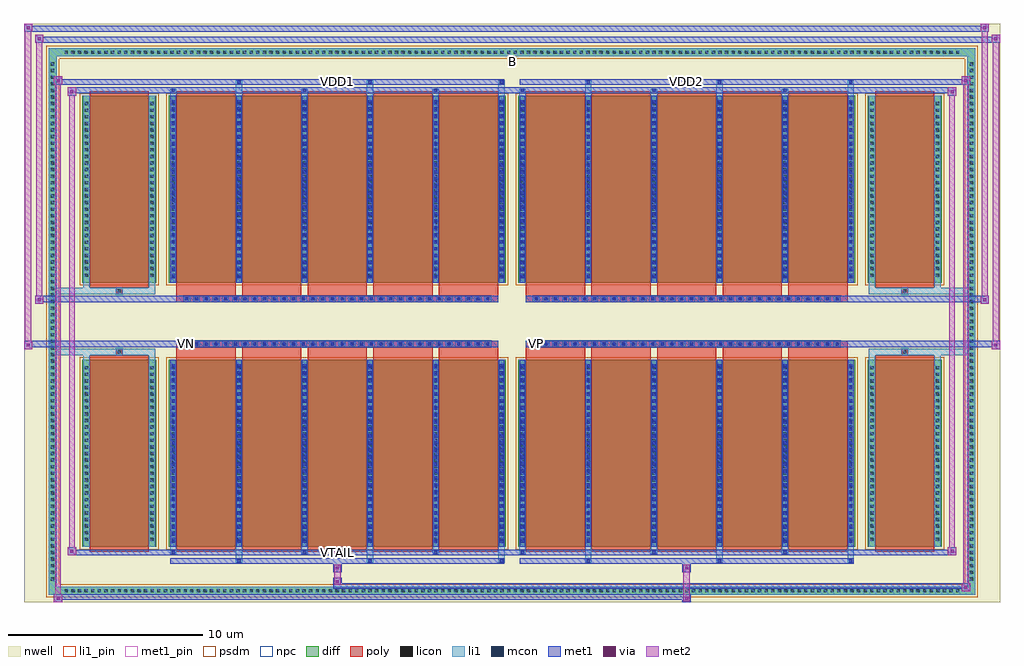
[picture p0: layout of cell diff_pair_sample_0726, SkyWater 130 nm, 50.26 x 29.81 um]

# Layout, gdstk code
import gdstk
lib = gdstk.Library(unit=1e-6, precision=5e-09)
def R(c, l, rs):  # rectangles x0, y0, x1, y1
    for r in rs: c.add(gdstk.rectangle(r[:2], r[2:], *l))
def A(c, l, x, y, w, h, nx, ny, dx, dy):  # array of equal rectangles
    R(c, l, [(x+i*dx, y+j*dy, x+i*dx+w, y+j*dy+h) for i in range(nx) for j in range(ny)])
def P(c, l, *ps):  # polygons
    for p in ps: c.add(gdstk.Polygon(p, *l))
nwell = (64, 20)
diff = (65, 20)
poly = (66, 20)
licon = (66, 44)
li1_pin = (67, 16)
li1 = (67, 20)
mcon = (67, 44)
met1_pin = (68, 16)
met1 = (68, 20)
via = (68, 44)
met2 = (69, 20)
psdm = (94, 20)
npc = (95, 20)

diff_pair_sample_0726 = lib.new_cell('diff_pair_sample_0726')
R(diff_pair_sample_0726, nwell, [(-25.13,-14.47,25.13,15.34), (-22.45,-12.66,-0.01,-0.8), (0.01,-12.66,22.45,-0.8), (-22.45,0.8,-0.01,12.66), (0.01,0.8,22.45,12.66)])
A(diff_pair_sample_0726, diff, -23.155, -14.07, 0.41, 0.41, 136, 2, 0.34, 27.73)
A(diff_pair_sample_0726, diff, -23.86, -13.465, 0.41, 0.41, 1, 79, 0, 0.34)
A(diff_pair_sample_0726, diff, 23.45, -13.465, 0.41, 0.41, 1, 79, 0, 0.34)
R(diff_pair_sample_0726, diff, [(-23.155,-14.07,23.155,-13.66), (-23.86,-13.465,-23.45,13.465), (23.45,-13.465,23.86,13.465), (-22.14,-11.615,-18.31,-1.985), (-17.67,-11.615,-0.32,-1.985), (0.32,-11.615,17.67,-1.985), (18.31,-11.615,22.14,-1.985), (-22.14,1.985,-18.31,11.615), (-17.67,1.985,-0.32,11.615), (0.32,1.985,17.67,11.615), (18.31,1.985,22.14,11.615), (-23.155,13.66,23.155,14.07)])
P(diff_pair_sample_0726, diff, [(23.86,14.07),(-23.86,14.07),(-23.86,-13.66),(-23.45,-13.66),(-23.45,13.66),(23.45,13.66),(23.45,-13.66),(-23.45,-13.66),(-23.86,-13.66),(-23.86,-14.07),(23.86,-14.07)])
A(diff_pair_sample_0726, poly, -17.28, -11.865, 3.05, 10.13, 5, 2, 3.38, 13.6)
A(diff_pair_sample_0726, poly, 0.71, -11.865, 3.05, 10.13, 5, 2, 3.38, 13.6)
A(diff_pair_sample_0726, poly, -17.28, -1.735, 3.05, 0.405, 5, 2, 3.38, 3.065)
A(diff_pair_sample_0726, poly, 0.71, -1.735, 3.05, 0.405, 5, 2, 3.38, 3.065)
A(diff_pair_sample_0726, poly, -16.91, -1.33, 0.33, 0.33, 32, 2, 0.5, 2.33)
A(diff_pair_sample_0726, poly, 1.08, -1.33, 0.33, 0.33, 32, 2, 0.5, 2.33)
R(diff_pair_sample_0726, poly, [(-21.75,-11.865,-18.7,-1.735), (18.7,-11.865,21.75,-1.735), (-20.39,-1.735,-20.06,-1.405), (-20.39,-1.735,-20.06,-1.405), (20.06,-1.735,20.39,-1.405), (20.06,-1.735,20.39,-1.405), (-17.28,-1.33,-0.71,-1), (0.71,-1.33,17.28,-1), (-17.28,1,-0.71,1.33), (0.71,1,17.28,1.33), (-20.39,1.405,-20.06,1.735), (-20.39,1.405,-20.06,1.735), (20.06,1.405,20.39,1.735), (20.06,1.405,20.39,1.735), (-21.75,1.735,-18.7,11.865), (18.7,1.735,21.75,11.865)])
A(diff_pair_sample_0726, licon, -23.035, -13.95, 0.17, 0.17, 136, 2, 0.34, 27.73)
A(diff_pair_sample_0726, licon, -23.74, -13.345, 0.17, 0.17, 1, 79, 0, 0.34)
A(diff_pair_sample_0726, licon, 23.57, -13.345, 0.17, 0.17, 1, 79, 0, 0.34)
A(diff_pair_sample_0726, licon, -22, -11.305, 0.17, 0.17, 1, 27, 0, 0.34)
A(diff_pair_sample_0726, licon, -18.62, -11.305, 0.17, 0.17, 1, 27, 0, 0.34)
A(diff_pair_sample_0726, licon, -17.53, -11.305, 0.17, 0.17, 6, 27, 3.38, 0.34)
A(diff_pair_sample_0726, licon, 0.46, -11.305, 0.17, 0.17, 6, 27, 3.38, 0.34)
A(diff_pair_sample_0726, licon, 18.45, -11.305, 0.17, 0.17, 1, 27, 0, 0.34)
A(diff_pair_sample_0726, licon, 21.83, -11.305, 0.17, 0.17, 1, 27, 0, 0.34)
A(diff_pair_sample_0726, licon, -16.83, -1.25, 0.17, 0.17, 32, 2, 0.5, 2.33)
A(diff_pair_sample_0726, licon, 1.16, -1.25, 0.17, 0.17, 32, 2, 0.5, 2.33)
A(diff_pair_sample_0726, licon, -22, 2.295, 0.17, 0.17, 1, 27, 0, 0.34)
A(diff_pair_sample_0726, licon, -18.62, 2.295, 0.17, 0.17, 1, 27, 0, 0.34)
A(diff_pair_sample_0726, licon, -17.53, 2.295, 0.17, 0.17, 6, 27, 3.38, 0.34)
A(diff_pair_sample_0726, licon, 0.46, 2.295, 0.17, 0.17, 6, 27, 3.38, 0.34)
A(diff_pair_sample_0726, licon, 18.45, 2.295, 0.17, 0.17, 1, 27, 0, 0.34)
A(diff_pair_sample_0726, licon, 21.83, 2.295, 0.17, 0.17, 1, 27, 0, 0.34)
R(diff_pair_sample_0726, licon, [(-20.31,-1.655,-20.14,-1.485), (20.14,-1.655,20.31,-1.485), (-20.31,1.485,-20.14,1.655), (20.14,1.485,20.31,1.655)])
R(diff_pair_sample_0726, li1_pin, [(-0.25,13.16,0.25,13.66)])
A(diff_pair_sample_0726, li1, -23.115, -14.03, 0.33, 0.33, 136, 2, 0.34, 27.73)
A(diff_pair_sample_0726, li1, -23.82, -13.425, 0.33, 0.33, 1, 79, 0, 0.34)
A(diff_pair_sample_0726, li1, 23.49, -13.425, 0.33, 0.33, 1, 79, 0, 0.34)
A(diff_pair_sample_0726, li1, -14.23, -12.42, 0.33, 0.805, 3, 2, 6.76, 24.035)
A(diff_pair_sample_0726, li1, -14.15, -12.42, 0.17, 0.17, 3, 2, 6.76, 24.67)
A(diff_pair_sample_0726, li1, 3.76, -12.42, 0.33, 0.805, 3, 2, 6.76, 24.035)
A(diff_pair_sample_0726, li1, 3.84, -12.42, 0.17, 0.17, 3, 2, 6.76, 24.67)
A(diff_pair_sample_0726, li1, -17.61, -11.99, 0.33, 0.375, 3, 2, 6.76, 23.605)
A(diff_pair_sample_0726, li1, -17.53, -11.99, 0.17, 0.17, 3, 2, 6.76, 23.81)
A(diff_pair_sample_0726, li1, 0.38, -11.99, 0.33, 0.375, 3, 2, 6.76, 23.605)
A(diff_pair_sample_0726, li1, 0.46, -11.99, 0.17, 0.17, 3, 2, 6.76, 23.81)
A(diff_pair_sample_0726, li1, -17.61, -11.615, 0.33, 9.63, 6, 2, 3.38, 13.6)
A(diff_pair_sample_0726, li1, 0.38, -11.615, 0.33, 9.63, 6, 2, 3.38, 13.6)
A(diff_pair_sample_0726, li1, -22.08, -11.385, 0.33, 0.33, 1, 27, 0, 0.34)
A(diff_pair_sample_0726, li1, -18.7, -11.385, 0.33, 0.33, 1, 27, 0, 0.34)
A(diff_pair_sample_0726, li1, -17.61, -11.385, 0.33, 0.33, 6, 27, 3.38, 0.34)
A(diff_pair_sample_0726, li1, -17.53, -11.385, 0.17, 0.17, 6, 26, 3.38, 0.36)
A(diff_pair_sample_0726, li1, -17.53, -11.385, 0.17, 9.17, 6, 2, 3.38, 13.6)
A(diff_pair_sample_0726, li1, 0.38, -11.385, 0.33, 0.33, 6, 27, 3.38, 0.34)
A(diff_pair_sample_0726, li1, 0.46, -11.385, 0.17, 0.17, 6, 26, 3.38, 0.36)
A(diff_pair_sample_0726, li1, 0.46, -11.385, 0.17, 9.17, 6, 2, 3.38, 13.6)
A(diff_pair_sample_0726, li1, 18.37, -11.385, 0.33, 0.33, 1, 27, 0, 0.34)
A(diff_pair_sample_0726, li1, 21.75, -11.385, 0.33, 0.33, 1, 27, 0, 0.34)
A(diff_pair_sample_0726, li1, -16.91, -1.33, 0.33, 0.33, 32, 2, 0.5, 2.33)
A(diff_pair_sample_0726, li1, 1.08, -1.33, 0.33, 0.33, 32, 2, 0.5, 2.33)
A(diff_pair_sample_0726, li1, -22.08, 2.215, 0.33, 0.33, 1, 27, 0, 0.34)
A(diff_pair_sample_0726, li1, -18.7, 2.215, 0.33, 0.33, 1, 27, 0, 0.34)
A(diff_pair_sample_0726, li1, -17.61, 2.215, 0.33, 0.33, 6, 27, 3.38, 0.34)
A(diff_pair_sample_0726, li1, -17.53, 2.215, 0.17, 0.17, 6, 26, 3.38, 0.36)
A(diff_pair_sample_0726, li1, 0.38, 2.215, 0.33, 0.33, 6, 27, 3.38, 0.34)
A(diff_pair_sample_0726, li1, 0.46, 2.215, 0.17, 0.17, 6, 26, 3.38, 0.36)
A(diff_pair_sample_0726, li1, 18.37, 2.215, 0.33, 0.33, 1, 27, 0, 0.34)
A(diff_pair_sample_0726, li1, 21.75, 2.215, 0.33, 0.33, 1, 27, 0, 0.34)
R(diff_pair_sample_0726, li1, [(-23.86,-14.07,-23.45,-13.66), (-23.86,-14.07,-23.45,-13.66), (-23.45,-14.07,23.45,-13.66), (23.45,-14.07,23.86,-13.66), (23.45,-14.07,23.86,-13.66), (-23.86,-13.66,-23.45,13.66), (23.45,-13.66,23.86,13.66), (-22.08,-11.615,-21.75,-1.985), (-18.7,-11.615,-18.37,-1.985), (18.37,-11.615,18.7,-1.985), (21.75,-11.615,22.08,-1.985), (-22.08,-1.985,-21.75,-1.405), (-18.7,-1.985,-18.37,-1.405), (18.37,-1.985,18.7,-1.405), (21.75,-1.985,22.08,-1.405), (-23.86,-1.735,-20.39,-1.405), (-22.08,-1.735,-20.39,-1.405), (-20.39,-1.735,-20.06,-1.405), (-20.06,-1.735,-18.37,-1.405), (18.37,-1.735,20.06,-1.405), (20.06,-1.735,20.39,-1.405), (20.06,-1.735,23.86,-1.405), (20.39,-1.735,22.08,-1.405), (-23.86,1.405,-20.39,1.735), (-22.08,1.405,-20.39,1.735), (-22.08,1.405,-21.75,1.985), (-20.39,1.405,-20.06,1.735), (-20.06,1.405,-18.37,1.735), (-18.7,1.405,-18.37,1.985), (18.37,1.405,20.06,1.735), (18.37,1.405,18.7,1.985), (20.06,1.405,20.39,1.735), (20.06,1.405,23.86,1.735), (20.39,1.405,22.08,1.735), (21.75,1.405,22.08,1.985), (-22.08,1.985,-21.75,11.615), (-18.7,1.985,-18.37,11.615), (18.37,1.985,18.7,11.615), (21.75,1.985,22.08,11.615), (-23.86,13.66,-23.45,14.07), (-23.86,13.66,-23.45,14.07), (-23.45,13.66,23.45,14.07), (23.45,13.66,23.86,14.07), (23.45,13.66,23.86,14.07)])
A(diff_pair_sample_0726, mcon, -14.15, -12.42, 0.17, 0.17, 3, 2, 6.76, 24.67)
A(diff_pair_sample_0726, mcon, 3.84, -12.42, 0.17, 0.17, 3, 2, 6.76, 24.67)
A(diff_pair_sample_0726, mcon, -17.53, -11.99, 0.17, 0.17, 3, 2, 6.76, 23.81)
A(diff_pair_sample_0726, mcon, 0.46, -11.99, 0.17, 0.17, 3, 2, 6.76, 23.81)
A(diff_pair_sample_0726, mcon, -17.53, -11.385, 0.17, 0.17, 6, 26, 3.38, 0.36)
A(diff_pair_sample_0726, mcon, 0.46, -11.385, 0.17, 0.17, 6, 26, 3.38, 0.36)
A(diff_pair_sample_0726, mcon, -16.83, -1.25, 0.17, 0.17, 32, 2, 0.5, 2.33)
A(diff_pair_sample_0726, mcon, 1.16, -1.25, 0.17, 0.17, 32, 2, 0.5, 2.33)
A(diff_pair_sample_0726, mcon, -17.53, 2.215, 0.17, 0.17, 6, 26, 3.38, 0.36)
A(diff_pair_sample_0726, mcon, 0.46, 2.215, 0.17, 0.17, 6, 26, 3.38, 0.36)
R(diff_pair_sample_0726, met1_pin, [(-9.13,-12.03,-8.86,-11.76), (-16.88,-1.29,-16.61,-1.02), (1.11,-1.29,1.38,-1.02), (-9.13,12.21,-8.86,12.48), (8.86,12.21,9.13,12.48)])
A(diff_pair_sample_0726, met1, -14.21, -12.48, 0.29, 0.29, 3, 2, 6.76, 24.67)
A(diff_pair_sample_0726, met1, 3.78, -12.48, 0.29, 0.29, 3, 2, 6.76, 24.67)
A(diff_pair_sample_0726, met1, -17.59, -12.05, 0.29, 0.29, 3, 2, 6.76, 23.81)
A(diff_pair_sample_0726, met1, 0.4, -12.05, 0.29, 0.29, 3, 2, 6.76, 23.81)
A(diff_pair_sample_0726, met1, -17.59, -11.615, 0.29, 9.63, 6, 2, 3.38, 13.6)
A(diff_pair_sample_0726, met1, 0.4, -11.615, 0.29, 9.63, 6, 2, 3.38, 13.6)
A(diff_pair_sample_0726, met1, -17.59, -11.445, 0.29, 0.29, 6, 26, 3.38, 0.36)
A(diff_pair_sample_0726, met1, 0.4, -11.445, 0.29, 0.29, 6, 26, 3.38, 0.36)
A(diff_pair_sample_0726, met1, -16.89, -1.31, 0.29, 0.29, 32, 2, 0.5, 2.33)
A(diff_pair_sample_0726, met1, 1.1, -1.31, 0.29, 0.29, 32, 2, 0.5, 2.33)
A(diff_pair_sample_0726, met1, -17.59, 2.155, 0.29, 0.29, 6, 26, 3.38, 0.36)
A(diff_pair_sample_0726, met1, 0.4, 2.155, 0.29, 0.29, 6, 26, 3.38, 0.36)
R(diff_pair_sample_0726, met1, [(-23.59,-14.47,-23.16,-14.04), (8.78,-14.47,9.21,-14.04), (-23.59,-14.33,9.21,-14.04), (23.16,-13.9,23.59,-13.47), (-9.21,-13.76,23.59,-13.47), (-9.21,-13.62,-8.78,-13.19), (-9.21,-12.91,-8.78,-12.48), (8.78,-12.91,9.21,-12.48), (-17.59,-12.48,-0.4,-12.19), (0.4,-12.48,17.59,-12.19), (-22.88,-12.05,-22.45,-11.62), (-22.88,-12.05,-17.59,-11.76), (-17.59,-12.05,-0.4,-11.76), (-0.4,-12.05,0.4,-11.76), (0.4,-12.05,17.59,-11.76), (17.59,-12.05,22.88,-11.76), (22.45,-12.05,22.88,-11.62), (-25.13,-1.43,-24.7,-1), (24.7,-1.43,25.13,-1), (-25.13,-1.33,-0.71,-1), (-17.28,-1.33,-0.71,-1), (0.71,-1.33,17.28,-1), (0.71,-1.33,25.13,-1), (-24.56,0.9,-24.13,1.33), (24.13,0.9,24.56,1.33), (-24.56,1,-17.28,1.33), (-17.28,1,-0.71,1.33), (0.71,1,17.28,1.33), (17.28,1,24.56,1.33), (-22.88,11.62,-22.45,12.05), (22.45,11.62,22.88,12.05), (-22.88,11.76,-17.59,12.05), (-17.59,11.76,-0.4,12.05), (-0.4,11.76,0.4,12.05), (0.4,11.76,17.59,12.05), (17.59,11.76,22.88,12.05), (-23.59,12.19,-23.16,12.62), (-23.59,12.19,-17.59,12.48), (-17.59,12.19,-0.4,12.48), (0.4,12.19,17.59,12.48), (17.59,12.19,23.59,12.48), (23.16,12.19,23.59,12.62), (-24.56,14.34,-24.13,14.77), (-24.56,14.34,-22.45,14.67), (-22.45,14.34,22.45,14.67), (22.45,14.34,25.13,14.67), (24.7,14.34,25.13,14.77), (-25.13,14.91,-24.7,15.34), (-25.13,14.91,-22.45,15.24), (-22.45,14.91,22.45,15.24), (22.45,14.91,24.56,15.24), (24.13,14.91,24.56,15.34)])
R(diff_pair_sample_0726, via, [(-23.45,-14.33,-23.3,-14.18), (8.92,-14.33,9.07,-14.18), (23.3,-13.76,23.45,-13.61), (-9.07,-13.48,-8.92,-13.33), (-9.07,-12.77,-8.92,-12.62), (8.92,-12.77,9.07,-12.62), (-22.74,-11.91,-22.59,-11.76), (22.59,-11.91,22.74,-11.76), (-24.99,-1.29,-24.84,-1.14), (24.84,-1.29,24.99,-1.14), (-24.42,1.04,-24.27,1.19), (24.27,1.04,24.42,1.19), (-22.74,11.76,-22.59,11.91), (22.59,11.76,22.74,11.91), (-23.45,12.33,-23.3,12.48), (23.3,12.33,23.45,12.48), (-24.42,14.48,-24.27,14.63), (24.84,14.48,24.99,14.63), (-24.99,15.05,-24.84,15.2), (24.27,15.05,24.42,15.2)])
R(diff_pair_sample_0726, met2, [(-23.59,-14.47,-23.16,-14.04), (-23.52,-14.47,-23.23,12.62), (-23.23,-14.47,-23.16,-14.04), (-23.54,-14.42,-23.21,-14.09), (8.83,-14.42,9.16,-14.09), (8.83,-14.09,9.16,-12.86), (23.16,-13.9,23.59,-13.47), (23.23,-13.9,23.52,12.62), (23.52,-13.9,23.59,-13.47), (23.21,-13.85,23.54,-13.52), (-9.16,-13.57,-8.83,-13.24), (-9.16,-13.24,-8.83,-12.86), (-9.16,-12.86,-8.83,-12.53), (8.83,-12.86,9.16,-12.53), (-22.88,-12.05,-22.45,-11.62), (-22.81,-12.05,-22.52,12.05), (-22.52,-12.05,-22.45,-11.62), (22.45,-12.05,22.88,-11.62), (22.52,-12.05,22.81,12.05), (22.81,-12.05,22.88,-11.62), (-22.83,-12,-22.5,-11.67), (22.5,-12,22.83,-11.67), (-25.13,-1.43,-24.7,-1), (-25.08,-1.43,-24.75,15.34), (-24.75,-1.43,-24.7,-1), (24.7,-1.43,25.13,-1), (24.75,-1.43,25.08,14.77), (25.08,-1.43,25.13,-1), (-25.08,-1.38,-24.75,-1.05), (24.75,-1.38,25.08,-1.05), (-24.56,0.9,-24.13,1.33), (-24.51,0.9,-24.18,14.77), (-24.18,0.9,-24.13,1.33), (24.13,0.9,24.56,1.33), (24.18,0.9,24.51,15.34), (24.51,0.9,24.56,1.33), (-24.51,0.95,-24.18,1.28), (24.18,0.95,24.51,1.28), (-22.88,11.62,-22.45,12.05), (-22.52,11.62,-22.45,12.05), (22.45,11.62,22.88,12.05), (22.81,11.62,22.88,12.05), (-22.83,11.67,-22.5,12), (22.5,11.67,22.83,12), (-23.59,12.19,-23.16,12.62), (-23.23,12.19,-23.16,12.62), (23.16,12.19,23.59,12.62), (23.52,12.19,23.59,12.62), (-23.54,12.24,-23.21,12.57), (23.21,12.24,23.54,12.57), (-24.56,14.34,-24.13,14.77), (-24.18,14.34,-24.13,14.77), (24.7,14.34,25.13,14.77), (25.08,14.34,25.13,14.77), (-24.51,14.39,-24.18,14.72), (24.75,14.39,25.08,14.72), (-25.13,14.91,-24.7,15.34), (-24.75,14.91,-24.7,15.34), (24.13,14.91,24.56,15.34), (24.51,14.91,24.56,15.34), (-25.08,14.96,-24.75,15.29), (24.18,14.96,24.51,15.29)])
R(diff_pair_sample_0726, psdm, [(-22.27,-11.745,-18.18,-1.855), (-17.8,-11.745,-0.19,-1.855), (0.19,-11.745,17.8,-1.855), (18.18,-11.745,22.27,-1.855), (-22.27,1.855,-18.18,11.745), (-17.8,1.855,-0.19,11.745), (0.19,1.855,17.8,11.745), (18.18,1.855,22.27,11.745)])
P(diff_pair_sample_0726, psdm, [(23.99,14.2),(-23.99,14.2),(-23.99,-13.53),(-23.32,-13.53),(-23.32,13.53),(23.32,13.53),(23.32,-13.53),(-23.32,-13.53),(-23.99,-13.53),(-23.99,-14.2),(23.99,-14.2)])
A(diff_pair_sample_0726, npc, -16.93, -1.35, 0.37, 0.37, 32, 2, 0.5, 2.33)
A(diff_pair_sample_0726, npc, 1.06, -1.35, 0.37, 0.37, 32, 2, 0.5, 2.33)
R(diff_pair_sample_0726, npc, [(-20.41,-1.755,-20.04,-1.385), (20.04,-1.755,20.41,-1.385), (-16.93,-1.35,-16.06,-0.98), (-16.93,-1.35,-16.06,-0.98), (-16.43,-1.35,-15.56,-0.98), (-16.43,-1.35,-15.56,-0.98), (-15.93,-1.35,-15.06,-0.98), (-15.93,-1.35,-15.06,-0.98), (-15.43,-1.35,-14.56,-0.98), (-15.43,-1.35,-14.56,-0.98), (-14.93,-1.35,-14.06,-0.98), (-14.93,-1.35,-14.06,-0.98), (-14.43,-1.35,-13.56,-0.98), (-14.43,-1.35,-13.56,-0.98), (-13.93,-1.35,-13.06,-0.98), (-13.93,-1.35,-13.06,-0.98), (-13.43,-1.35,-12.56,-0.98), (-13.43,-1.35,-12.56,-0.98), (-12.93,-1.35,-12.06,-0.98), (-12.93,-1.35,-12.06,-0.98), (-12.43,-1.35,-11.56,-0.98), (-12.43,-1.35,-11.56,-0.98), (-11.93,-1.35,-11.06,-0.98), (-11.93,-1.35,-11.06,-0.98), (-11.43,-1.35,-10.56,-0.98), (-11.43,-1.35,-10.56,-0.98), (-10.93,-1.35,-10.06,-0.98), (-10.93,-1.35,-10.06,-0.98), (-10.43,-1.35,-9.56,-0.98), (-10.43,-1.35,-9.56,-0.98), (-9.93,-1.35,-9.06,-0.98), (-9.93,-1.35,-9.06,-0.98), (-9.43,-1.35,-8.56,-0.98), (-9.43,-1.35,-8.56,-0.98), (-8.93,-1.35,-8.06,-0.98), (-8.93,-1.35,-8.06,-0.98), (-8.43,-1.35,-7.56,-0.98), (-8.43,-1.35,-7.56,-0.98), (-7.93,-1.35,-7.06,-0.98), (-7.93,-1.35,-7.06,-0.98), (-7.43,-1.35,-6.56,-0.98), (-7.43,-1.35,-6.56,-0.98), (-6.93,-1.35,-6.06,-0.98), (-6.93,-1.35,-6.06,-0.98), (-6.43,-1.35,-5.56,-0.98), (-6.43,-1.35,-5.56,-0.98), (-5.93,-1.35,-5.06,-0.98), (-5.93,-1.35,-5.06,-0.98), (-5.43,-1.35,-4.56,-0.98), (-5.43,-1.35,-4.56,-0.98), (-4.93,-1.35,-4.06,-0.98), (-4.93,-1.35,-4.06,-0.98), (-4.43,-1.35,-3.56,-0.98), (-4.43,-1.35,-3.56,-0.98), (-3.93,-1.35,-3.06,-0.98), (-3.93,-1.35,-3.06,-0.98), (-3.43,-1.35,-2.56,-0.98), (-3.43,-1.35,-2.56,-0.98), (-2.93,-1.35,-2.06,-0.98), (-2.93,-1.35,-2.06,-0.98), (-2.43,-1.35,-1.56,-0.98), (-2.43,-1.35,-1.56,-0.98), (-1.93,-1.35,-1.06,-0.98), (-1.93,-1.35,-1.06,-0.98), (1.06,-1.35,1.93,-0.98), (1.06,-1.35,1.93,-0.98), (1.56,-1.35,2.43,-0.98), (1.56,-1.35,2.43,-0.98), (2.06,-1.35,2.93,-0.98), (2.06,-1.35,2.93,-0.98), (2.56,-1.35,3.43,-0.98), (2.56,-1.35,3.43,-0.98), (3.06,-1.35,3.93,-0.98), (3.06,-1.35,3.93,-0.98), (3.56,-1.35,4.43,-0.98), (3.56,-1.35,4.43,-0.98), (4.06,-1.35,4.93,-0.98), (4.06,-1.35,4.93,-0.98), (4.56,-1.35,5.43,-0.98), (4.56,-1.35,5.43,-0.98), (5.06,-1.35,5.93,-0.98), (5.06,-1.35,5.93,-0.98), (5.56,-1.35,6.43,-0.98), (5.56,-1.35,6.43,-0.98), (6.06,-1.35,6.93,-0.98), (6.06,-1.35,6.93,-0.98), (6.56,-1.35,7.43,-0.98), (6.56,-1.35,7.43,-0.98), (7.06,-1.35,7.93,-0.98), (7.06,-1.35,7.93,-0.98), (7.56,-1.35,8.43,-0.98), (7.56,-1.35,8.43,-0.98), (8.06,-1.35,8.93,-0.98), (8.06,-1.35,8.93,-0.98), (8.56,-1.35,9.43,-0.98), (8.56,-1.35,9.43,-0.98), (9.06,-1.35,9.93,-0.98), (9.06,-1.35,9.93,-0.98), (9.56,-1.35,10.43,-0.98), (9.56,-1.35,10.43,-0.98), (10.06,-1.35,10.93,-0.98), (10.06,-1.35,10.93,-0.98), (10.56,-1.35,11.43,-0.98), (10.56,-1.35,11.43,-0.98), (11.06,-1.35,11.93,-0.98), (11.06,-1.35,11.93,-0.98), (11.56,-1.35,12.43,-0.98), (11.56,-1.35,12.43,-0.98), (12.06,-1.35,12.93,-0.98), (12.06,-1.35,12.93,-0.98), (12.56,-1.35,13.43,-0.98), (12.56,-1.35,13.43,-0.98), (13.06,-1.35,13.93,-0.98), (13.06,-1.35,13.93,-0.98), (13.56,-1.35,14.43,-0.98), (13.56,-1.35,14.43,-0.98), (14.06,-1.35,14.93,-0.98), (14.06,-1.35,14.93,-0.98), (14.56,-1.35,15.43,-0.98), (14.56,-1.35,15.43,-0.98), (15.06,-1.35,15.93,-0.98), (15.06,-1.35,15.93,-0.98), (15.56,-1.35,16.43,-0.98), (15.56,-1.35,16.43,-0.98), (16.06,-1.35,16.93,-0.98), (16.06,-1.35,16.93,-0.98), (-16.93,0.98,-16.06,1.35), (-16.93,0.98,-16.06,1.35), (-16.43,0.98,-15.56,1.35), (-16.43,0.98,-15.56,1.35), (-15.93,0.98,-15.06,1.35), (-15.93,0.98,-15.06,1.35), (-15.43,0.98,-14.56,1.35), (-15.43,0.98,-14.56,1.35), (-14.93,0.98,-14.06,1.35), (-14.93,0.98,-14.06,1.35), (-14.43,0.98,-13.56,1.35), (-14.43,0.98,-13.56,1.35), (-13.93,0.98,-13.06,1.35), (-13.93,0.98,-13.06,1.35), (-13.43,0.98,-12.56,1.35), (-13.43,0.98,-12.56,1.35), (-12.93,0.98,-12.06,1.35), (-12.93,0.98,-12.06,1.35), (-12.43,0.98,-11.56,1.35), (-12.43,0.98,-11.56,1.35), (-11.93,0.98,-11.06,1.35), (-11.93,0.98,-11.06,1.35), (-11.43,0.98,-10.56,1.35), (-11.43,0.98,-10.56,1.35), (-10.93,0.98,-10.06,1.35), (-10.93,0.98,-10.06,1.35), (-10.43,0.98,-9.56,1.35), (-10.43,0.98,-9.56,1.35), (-9.93,0.98,-9.06,1.35), (-9.93,0.98,-9.06,1.35), (-9.43,0.98,-8.56,1.35), (-9.43,0.98,-8.56,1.35), (-8.93,0.98,-8.06,1.35), (-8.93,0.98,-8.06,1.35), (-8.43,0.98,-7.56,1.35), (-8.43,0.98,-7.56,1.35), (-7.93,0.98,-7.06,1.35), (-7.93,0.98,-7.06,1.35), (-7.43,0.98,-6.56,1.35), (-7.43,0.98,-6.56,1.35), (-6.93,0.98,-6.06,1.35), (-6.93,0.98,-6.06,1.35), (-6.43,0.98,-5.56,1.35), (-6.43,0.98,-5.56,1.35), (-5.93,0.98,-5.06,1.35), (-5.93,0.98,-5.06,1.35), (-5.43,0.98,-4.56,1.35), (-5.43,0.98,-4.56,1.35), (-4.93,0.98,-4.06,1.35), (-4.93,0.98,-4.06,1.35), (-4.43,0.98,-3.56,1.35), (-4.43,0.98,-3.56,1.35), (-3.93,0.98,-3.06,1.35), (-3.93,0.98,-3.06,1.35), (-3.43,0.98,-2.56,1.35), (-3.43,0.98,-2.56,1.35), (-2.93,0.98,-2.06,1.35), (-2.93,0.98,-2.06,1.35), (-2.43,0.98,-1.56,1.35), (-2.43,0.98,-1.56,1.35), (-1.93,0.98,-1.06,1.35), (-1.93,0.98,-1.06,1.35), (1.06,0.98,1.93,1.35), (1.06,0.98,1.93,1.35), (1.56,0.98,2.43,1.35), (1.56,0.98,2.43,1.35), (2.06,0.98,2.93,1.35), (2.06,0.98,2.93,1.35), (2.56,0.98,3.43,1.35), (2.56,0.98,3.43,1.35), (3.06,0.98,3.93,1.35), (3.06,0.98,3.93,1.35), (3.56,0.98,4.43,1.35), (3.56,0.98,4.43,1.35), (4.06,0.98,4.93,1.35), (4.06,0.98,4.93,1.35), (4.56,0.98,5.43,1.35), (4.56,0.98,5.43,1.35), (5.06,0.98,5.93,1.35), (5.06,0.98,5.93,1.35), (5.56,0.98,6.43,1.35), (5.56,0.98,6.43,1.35), (6.06,0.98,6.93,1.35), (6.06,0.98,6.93,1.35), (6.56,0.98,7.43,1.35), (6.56,0.98,7.43,1.35), (7.06,0.98,7.93,1.35), (7.06,0.98,7.93,1.35), (7.56,0.98,8.43,1.35), (7.56,0.98,8.43,1.35), (8.06,0.98,8.93,1.35), (8.06,0.98,8.93,1.35), (8.56,0.98,9.43,1.35), (8.56,0.98,9.43,1.35), (9.06,0.98,9.93,1.35), (9.06,0.98,9.93,1.35), (9.56,0.98,10.43,1.35), (9.56,0.98,10.43,1.35), (10.06,0.98,10.93,1.35), (10.06,0.98,10.93,1.35), (10.56,0.98,11.43,1.35), (10.56,0.98,11.43,1.35), (11.06,0.98,11.93,1.35), (11.06,0.98,11.93,1.35), (11.56,0.98,12.43,1.35), (11.56,0.98,12.43,1.35), (12.06,0.98,12.93,1.35), (12.06,0.98,12.93,1.35), (12.56,0.98,13.43,1.35), (12.56,0.98,13.43,1.35), (13.06,0.98,13.93,1.35), (13.06,0.98,13.93,1.35), (13.56,0.98,14.43,1.35), (13.56,0.98,14.43,1.35), (14.06,0.98,14.93,1.35), (14.06,0.98,14.93,1.35), (14.56,0.98,15.43,1.35), (14.56,0.98,15.43,1.35), (15.06,0.98,15.93,1.35), (15.06,0.98,15.93,1.35), (15.56,0.98,16.43,1.35), (15.56,0.98,16.43,1.35), (16.06,0.98,16.93,1.35), (16.06,0.98,16.93,1.35), (-20.41,1.385,-20.04,1.755), (20.04,1.385,20.41,1.755)])
diff_pair_sample_0726.add(gdstk.Label('VTAIL', (-8.995,-11.895), layer=68, texttype=5))
diff_pair_sample_0726.add(gdstk.Label('VN', (-16.745,-1.155), layer=68, texttype=5))
diff_pair_sample_0726.add(gdstk.Label('VP', (1.245,-1.155), layer=68, texttype=5))
diff_pair_sample_0726.add(gdstk.Label('B', (0,13.41), layer=67, texttype=5))
diff_pair_sample_0726.add(gdstk.Label('VDD2', (8.995,12.345), layer=68, texttype=5))
diff_pair_sample_0726.add(gdstk.Label('VDD1', (-8.995,12.345), layer=68, texttype=5))

lib.write_gds('diff_pair_sample_0726.gds')
